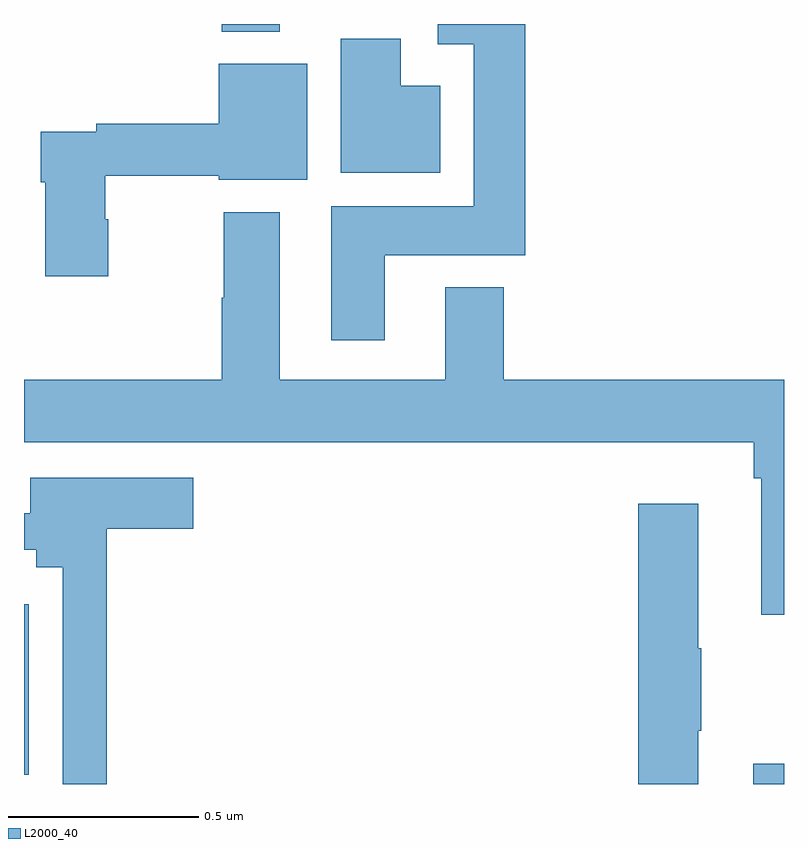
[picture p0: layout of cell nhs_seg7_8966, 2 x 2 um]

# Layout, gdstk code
import gdstk
lib = gdstk.Library(unit=1e-6, precision=1e-09)
def R(c, l, rs):  # rectangles x0, y0, x1, y1
    for r in rs: c.add(gdstk.rectangle(r[:2], r[2:], *l))
def P(c, l, *ps):  # polygons
    for p in ps: c.add(gdstk.Polygon(p, *l))
L2000_40 = (2000, 40)

nhs_seg7_8966 = lib.new_cell('nhs_seg7_8966')
R(nhs_seg7_8966, L2000_40, [(232.919,1049,233,1049.053), (231,1049.025,231.013,1049.473), (231.521,1050.98,231.673,1051)])
P(nhs_seg7_8966, L2000_40, [(231.949,1050.392),(232.319,1050.392),(232.319,1051),(232.089,1051),(232.089,1050.947),(232.184,1050.947),(232.184,1050.52),(231.809,1050.52),(231.809,1050.168),(231.949,1050.168)],
  [(232.096,1050.838),(231.991,1050.838),(231.991,1050.961),(231.833,1050.961),(231.833,1050.608),(232.096,1050.608)],
  [(231.222,1050.486),(231.214,1050.486),(231.214,1050.601),(231.512,1050.601),(231.512,1050.59),(231.745,1050.59),(231.745,1050.895),(231.512,1050.895),(231.512,1050.737),(231.19,1050.737),(231.19,1050.717),(231.044,1050.717),(231.044,1050.584),(231.056,1050.584),(231.056,1050.336),(231.222,1050.336)],
  [(231.526,1050.505),(231.526,1050.279),(231.521,1050.279),(231.521,1050.064),(231,1050.064),(231,1049.9),(232.921,1049.9),(232.921,1049.804),(232.94,1049.804),(232.94,1049.445),(233,1049.445),(233,1050.064),(232.262,1050.064),(232.262,1050.307),(232.109,1050.307),(232.109,1050.064),(231.673,1050.064),(231.673,1050.505)],
  [(231.218,1049.672),(231.445,1049.672),(231.445,1049.806),(231.017,1049.806),(231.017,1049.712),(231,1049.712),(231,1049.616),(231.032,1049.616),(231.032,1049.57),(231.102,1049.57),(231.102,1049),(231.218,1049)],
  [(232.774,1049.14),(232.782,1049.14),(232.782,1049.357),(232.774,1049.357),(232.774,1049.737),(232.616,1049.737),(232.616,1049),(232.774,1049)])

lib.write_gds('nhs_seg7_8966.gds')
